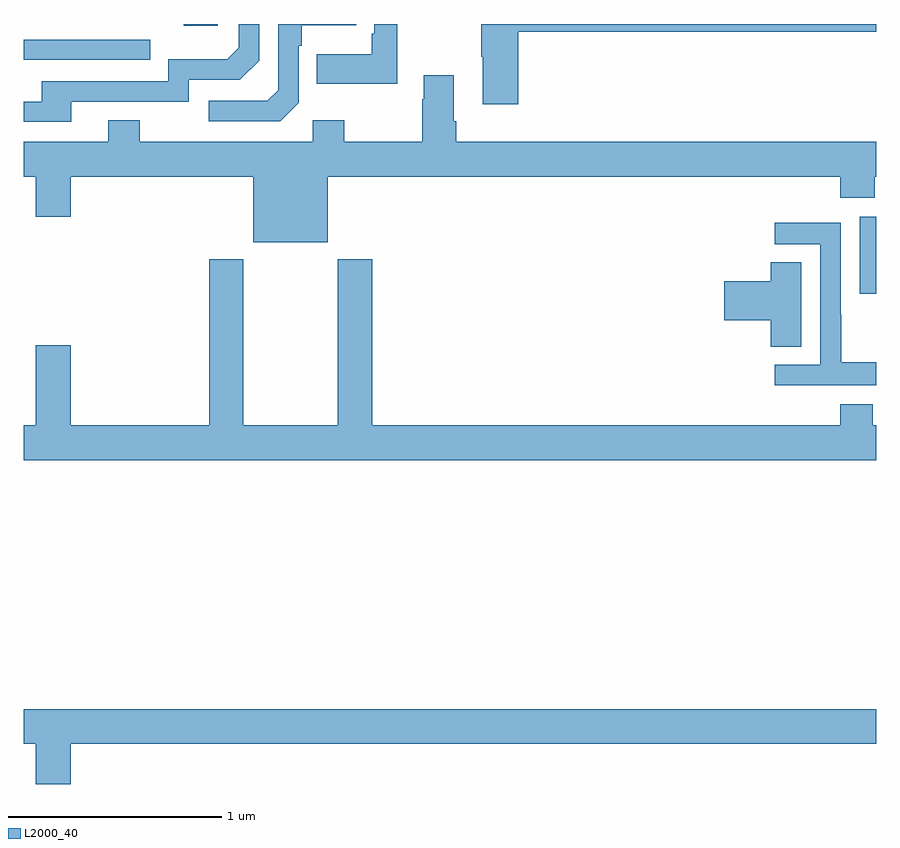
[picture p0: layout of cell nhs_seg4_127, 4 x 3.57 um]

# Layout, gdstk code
import gdstk
lib = gdstk.Library(unit=1e-6, precision=1e-09)
def R(c, l, rs):  # rectangles x0, y0, x1, y1
    for r in rs: c.add(gdstk.rectangle(r[:2], r[2:], *l))
def P(c, l, *ps):  # polygons
    for p in ps: c.add(gdstk.Polygon(p, *l))
L2000_40 = (2000, 40)

nhs_seg4_127 = lib.new_cell('nhs_seg4_127')
R(nhs_seg4_127, L2000_40, [(120.923,765.633,121,765.994), (117,766.731,117.593,766.827), (117.749,766.892,117.91,766.9)])
P(nhs_seg4_127, L2000_40, [(117.223,766.536),(117.774,766.536),(117.774,766.638),(118.014,766.638),(118.104,766.728),(118.104,766.9),(118.008,766.9),(118.008,766.788),(117.955,766.735),(117.678,766.735),(117.678,766.632),(117.083,766.632),(117.083,766.536),(117,766.536),(117,766.44),(117.223,766.44)],
  [(118.29,766.53),(118.29,766.799),(118.303,766.799),(118.303,766.895),(118.559,766.895),(118.559,766.9),(118.194,766.9),(118.194,766.59),(118.143,766.539),(117.867,766.539),(117.867,766.443),(118.203,766.443)],
  [(118.753,766.9),(118.644,766.9),(118.644,766.855),(118.632,766.855),(118.632,766.759),(118.375,766.759),(118.375,766.619),(118.753,766.619)],
  [(119.321,766.864),(121,766.864),(121,766.9),(119.146,766.9),(119.146,766.747),(119.153,766.747),(119.153,766.524),(119.321,766.524)],
  [(118.426,766.184),(120.833,766.184),(120.833,766.085),(120.993,766.085),(120.993,766.184),(121,766.184),(121,766.348),(119.03,766.348),(119.03,766.444),(119.017,766.444),(119.017,766.66),(118.877,766.66),(118.877,766.547),(118.87,766.547),(118.87,766.348),(118.503,766.348),(118.503,766.447),(118.356,766.447),(118.356,766.348),(117.543,766.348),(117.543,766.447),(117.395,766.447),(117.395,766.348),(117,766.348),(117,766.184),(117.056,766.184),(117.056,765.996),(117.22,765.996),(117.22,766.184),(118.076,766.184),(118.076,765.875),(118.426,765.875)],
  [(121,765.313),(120.837,765.313),(120.837,765.536),(120.834,765.536),(120.834,765.966),(120.525,765.966),(120.525,765.867),(120.738,765.867),(120.738,765.3),(120.525,765.3),(120.525,765.204),(121,765.204)],
  [(121,765.016),(120.985,765.016),(120.985,765.115),(120.833,765.115),(120.833,765.016),(118.634,765.016),(118.634,765.796),(118.474,765.796),(118.474,765.016),(118.029,765.016),(118.029,765.796),(117.869,765.796),(117.869,765.016),(117.22,765.016),(117.22,765.391),(117.056,765.391),(117.056,765.016),(117,765.016),(117,764.852),(121,764.852)],
  [(120.649,765.782),(120.506,765.782),(120.506,765.692),(120.288,765.692),(120.288,765.509),(120.506,765.509),(120.506,765.385),(120.649,765.385)],
  [(117.22,763.52),(121,763.52),(121,763.684),(117,763.684),(117,763.52),(117.056,763.52),(117.056,763.332),(117.22,763.332)])

lib.write_gds('nhs_seg4_127.gds')
